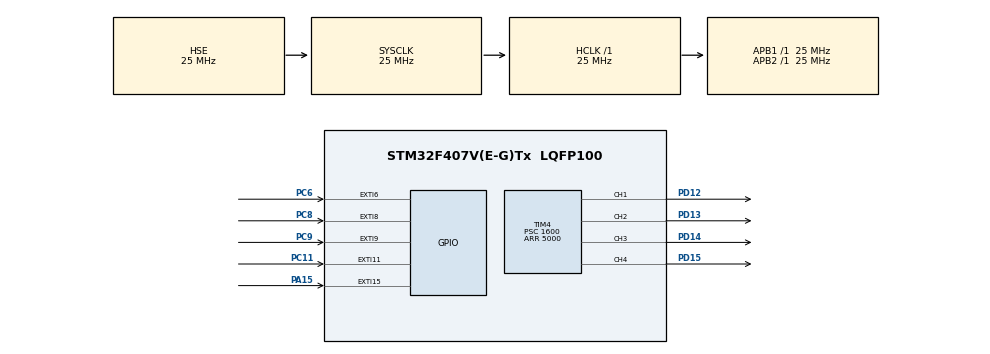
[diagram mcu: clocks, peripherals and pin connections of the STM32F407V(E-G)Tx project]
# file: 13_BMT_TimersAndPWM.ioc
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Mcu.Family=STM32F4
Mcu.Name=STM32F407V(E-G)Tx
Mcu.Package=LQFP100
NVIC.EXTI15_10_IRQn=true\:0\:0\:false\:false\:true\:true\:true\:true
NVIC.EXTI9_5_IRQn=true\:0\:0\:false\:false\:true\:true\:true\:true
NVIC.PriorityGroup=NVIC_PRIORITYGROUP_4
NVIC.TIM4_IRQn=true\:0\:0\:false\:false\:true\:true\:true\:true
PA15.GPIO_ModeDefaultEXTI=GPIO_MODE_IT_FALLING
PA15.Signal=GPXTI15
PC11.GPIO_ModeDefaultEXTI=GPIO_MODE_IT_FALLING
PC11.Signal=GPXTI11
PC6.GPIO_ModeDefaultEXTI=GPIO_MODE_IT_FALLING
PC6.Signal=GPXTI6
PC8.GPIO_ModeDefaultEXTI=GPIO_MODE_IT_FALLING
PC8.Signal=GPXTI8
PC9.GPIO_ModeDefaultEXTI=GPIO_MODE_IT_FALLING
PC9.Signal=GPXTI9
PD12.Signal=S_TIM4_CH1
PD13.Signal=S_TIM4_CH2
PD14.Signal=S_TIM4_CH3
PD15.Signal=S_TIM4_CH4
PH0-OSC_IN.Mode=HSE-External-Oscillator
PH0-OSC_IN.Signal=RCC_OSC_IN
PH1-OSC_OUT.Mode=HSE-External-Oscillator
PH1-OSC_OUT.Signal=RCC_OSC_OUT
ProjectManager.HeapSize=0x200
ProjectManager.StackSize=0x400
ProjectManager.TargetToolchain=STM32CubeIDE
RCC.48MHZClocksFreq_Value=48000000
RCC.AHBFreq_Value=25000000
RCC.APB1Freq_Value=25000000
RCC.APB1TimFreq_Value=25000000
RCC.APB2Freq_Value=25000000
RCC.APB2TimFreq_Value=25000000
RCC.CortexFreq_Value=25000000
RCC.HCLKFreq_Value=25000000
RCC.HSE_VALUE=25000000
RCC.HSI_VALUE=16000000
RCC.LSE_VALUE=32768
RCC.SYSCLKFreq_VALUE=25000000
RCC.SYSCLKSource=RCC_SYSCLKSOURCE_HSE
RCC.VCOOutputFreq_Value=192000000
SH.S_TIM4_CH1.0=TIM4_CH1,PWM Generation1 CH1
SH.S_TIM4_CH2.0=TIM4_CH2,PWM Generation2 CH2
SH.S_TIM4_CH3.0=TIM4_CH3,PWM Generation3 CH3
SH.S_TIM4_CH4.0=TIM4_CH4,PWM Generation4 CH4
TIM4.AutoReloadPreload=TIM_AUTORELOAD_PRELOAD_DISABLE
TIM4.Channel-PWM\ Generation1\ CH1=TIM_CHANNEL_1
TIM4.Channel-PWM\ Generation2\ CH2=TIM_CHANNEL_2
TIM4.Channel-PWM\ Generation3\ CH3=TIM_CHANNEL_3
TIM4.Channel-PWM\ Generation4\ CH4=TIM_CHANNEL_4
TIM4.Period=5000
TIM4.Prescaler=1600
VP_TIM4_VS_ClockSourceINT.Mode=Internal
board=custom

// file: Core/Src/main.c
/* USER CODE BEGIN Header */
/**
  ******************************************************************************
  * @file           : main.c
  * @brief          : Main program body
  ******************************************************************************
  * @attention
  *
  * Copyright (c) 2023 STMicroelectronics.
  * All rights reserved.
  *
  * This software is licensed under terms that can be found in the LICENSE file
  * in the root directory of this software component.
  * If no LICENSE file comes with this software, it is provided AS-IS.
  *
  ******************************************************************************
  */
/* USER CODE END Header */
#include "main.h"

/* USER CODE BEGIN PTD */
typedef enum{
	NO_CHANNEL,
	CHANNEL_1,
	CHANNEL_2,
	CHANNEL_3,
	CHANNEL_4,
} channel_t;

/* USER CODE END PTD */

/* USER CODE BEGIN PM */
#define FREQUENCY_STEP 10  // Hz
#define FREQUENCY_START 20 // Hz
#define DUTY_STEP 20       // 20 %
#define DUTY_START 20

// 25MHz / 2500 = 10 000 per second - after prescaler
#define PERIOD(frequency) (uint32_t)(10000 / frequency)

/* USER CODE END PM */

TIM_HandleTypeDef htim4;

void SystemClock_Config(void);
static void MX_GPIO_Init(void);
static void MX_TIM4_Init(void);
/* USER CODE BEGIN PFP */

void PWM_change_channel(void);
void PWM_change_duty(uint32_t frequency, uint8_t duty);
void PWM_change_frequency(uint32_t frequency, uint8_t duty);

/* USER CODE END PFP */

int main(void)
{

  /* MCU Configuration--------------------------------------------------------*/

  /* Reset of all peripherals, Initializes the Flash interface and the Systick. */
  HAL_Init();

  /* Configure the system clock */
  SystemClock_Config();

  /* Initialize all configured peripherals */
  MX_GPIO_Init();
  MX_TIM4_Init();
  /* USER CODE BEGIN 2 */

  // set up duty and frequency before start
  PWM_change_frequency(FREQUENCY_START, DUTY_START);

  /* USER CODE END 2 */

  /* Infinite loop */
  while (1)
  {
  }

}

void SystemClock_Config(void)
{
  RCC_OscInitTypeDef RCC_OscInitStruct = {0};
  RCC_ClkInitTypeDef RCC_ClkInitStruct = {0};

  /** Configure the main internal regulator output voltage
  */
  __HAL_RCC_PWR_CLK_ENABLE();
  __HAL_PWR_VOLTAGESCALING_CONFIG(PWR_REGULATOR_VOLTAGE_SCALE1);

  /** Initializes the RCC Oscillators according to the specified parameters
  * in the RCC_OscInitTypeDef structure.
  */
  RCC_OscInitStruct.OscillatorType = RCC_OSCILLATORTYPE_HSE;
  RCC_OscInitStruct.HSEState = RCC_HSE_ON;
  RCC_OscInitStruct.PLL.PLLState = RCC_PLL_NONE;
  if (HAL_RCC_OscConfig(&RCC_OscInitStruct) != HAL_OK)
  {
    Error_Handler();
  }

  /** Initializes the CPU, AHB and APB buses clocks
  */
  RCC_ClkInitStruct.ClockType = RCC_CLOCKTYPE_HCLK|RCC_CLOCKTYPE_SYSCLK
                              |RCC_CLOCKTYPE_PCLK1|RCC_CLOCKTYPE_PCLK2;
  RCC_ClkInitStruct.SYSCLKSource = RCC_SYSCLKSOURCE_HSE;
  RCC_ClkInitStruct.AHBCLKDivider = RCC_SYSCLK_DIV1;
  RCC_ClkInitStruct.APB1CLKDivider = RCC_HCLK_DIV1;
  RCC_ClkInitStruct.APB2CLKDivider = RCC_HCLK_DIV1;

  if (HAL_RCC_ClockConfig(&RCC_ClkInitStruct, FLASH_LATENCY_0) != HAL_OK)
  {
    Error_Handler();
  }
}

static void MX_TIM4_Init(void)
{

  TIM_ClockConfigTypeDef sClockSourceConfig = {0};
  TIM_MasterConfigTypeDef sMasterConfig = {0};
  TIM_OC_InitTypeDef sConfigOC = {0};

  htim4.Instance = TIM4;
  htim4.Init.Prescaler = 1600;
  htim4.Init.CounterMode = TIM_COUNTERMODE_UP;
  htim4.Init.Period = 5000;
  htim4.Init.ClockDivision = TIM_CLOCKDIVISION_DIV1;
  htim4.Init.AutoReloadPreload = TIM_AUTORELOAD_PRELOAD_DISABLE;
  if (HAL_TIM_Base_Init(&htim4) != HAL_OK)
  {
    Error_Handler();
  }
  sClockSourceConfig.ClockSource = TIM_CLOCKSOURCE_INTERNAL;
  if (HAL_TIM_ConfigClockSource(&htim4, &sClockSourceConfig) != HAL_OK)
  {
    Error_Handler();
  }
  if (HAL_TIM_PWM_Init(&htim4) != HAL_OK)
  {
    Error_Handler();
  }
  sMasterConfig.MasterOutputTrigger = TIM_TRGO_RESET;
  sMasterConfig.MasterSlaveMode = TIM_MASTERSLAVEMODE_DISABLE;
  if (HAL_TIMEx_MasterConfigSynchronization(&htim4, &sMasterConfig) != HAL_OK)
  {
    Error_Handler();
  }
  sConfigOC.OCMode = TIM_OCMODE_PWM1;
  sConfigOC.Pulse = 0;
  sConfigOC.OCPolarity = TIM_OCPOLARITY_HIGH;
  sConfigOC.OCFastMode = TIM_OCFAST_DISABLE;
  if (HAL_TIM_PWM_ConfigChannel(&htim4, &sConfigOC, TIM_CHANNEL_1) != HAL_OK)
  {
    Error_Handler();
  }
  if (HAL_TIM_PWM_ConfigChannel(&htim4, &sConfigOC, TIM_CHANNEL_2) != HAL_OK)
  {
    Error_Handler();
  }
  if (HAL_TIM_PWM_ConfigChannel(&htim4, &sConfigOC, TIM_CHANNEL_3) != HAL_OK)
  {
    Error_Handler();
  }
  if (HAL_TIM_PWM_ConfigChannel(&htim4, &sConfigOC, TIM_CHANNEL_4) != HAL_OK)
  {
    Error_Handler();
  }
  HAL_TIM_MspPostInit(&htim4);

}

static void MX_GPIO_Init(void)
{
  GPIO_InitTypeDef GPIO_InitStruct = {0};

  /* GPIO Ports Clock Enable */
  __HAL_RCC_GPIOH_CLK_ENABLE();
  __HAL_RCC_GPIOD_CLK_ENABLE();
  __HAL_RCC_GPIOC_CLK_ENABLE();
  __HAL_RCC_GPIOA_CLK_ENABLE();

  /*Configure GPIO pins : PC6 PC8 PC9 PC11 */
  GPIO_InitStruct.Pin = GPIO_PIN_6|GPIO_PIN_8|GPIO_PIN_9|GPIO_PIN_11;
  GPIO_InitStruct.Mode = GPIO_MODE_IT_FALLING;
  GPIO_InitStruct.Pull = GPIO_NOPULL;
  HAL_GPIO_Init(GPIOC, &GPIO_InitStruct);

  /*Configure GPIO pin : PA15 */
  GPIO_InitStruct.Pin = GPIO_PIN_15;
  GPIO_InitStruct.Mode = GPIO_MODE_IT_FALLING;
  GPIO_InitStruct.Pull = GPIO_NOPULL;
  HAL_GPIO_Init(GPIOA, &GPIO_InitStruct);

  /* EXTI interrupt init*/
  HAL_NVIC_SetPriority(EXTI9_5_IRQn, 0, 0);
  HAL_NVIC_EnableIRQ(EXTI9_5_IRQn);

  HAL_NVIC_SetPriority(EXTI15_10_IRQn, 0, 0);
  HAL_NVIC_EnableIRQ(EXTI15_10_IRQn);

}

/* USER CODE BEGIN 4 */
void HAL_GPIO_EXTI_Callback(uint16_t GPIO_Pin){
	static uint32_t frequency = FREQUENCY_START;
	static uint8_t duty = DUTY_START;

	switch (GPIO_Pin){
	case GPIO_PIN_11: //SWT1
		if (frequency <= (10000 - FREQUENCY_STEP)){ //max frequency 10kHz
			frequency += FREQUENCY_STEP;
			PWM_change_frequency(frequency, duty);
		}
		break;
	case GPIO_PIN_9: //SWT3
		if (frequency > FREQUENCY_STEP){ // min frequency = 0
			frequency -= FREQUENCY_STEP;
			PWM_change_frequency(frequency, duty);
		}
		break;
	case GPIO_PIN_6: //SWT4
		if (duty <= (100 - DUTY_STEP)){ //max duty = 100
			duty += DUTY_STEP;
			PWM_change_duty(frequency, duty);
		}
		break;
	case GPIO_PIN_8: //SWT5
		if (duty >= DUTY_STEP){ // min duty = 0
			duty -= DUTY_STEP;
			PWM_change_duty(frequency, duty);
		}
		break;
	case GPIO_PIN_15: //SWT2
		PWM_change_channel();
		break;
	}
}

void PWM_change_duty(uint32_t frequency, uint8_t duty){
	uint32_t high_duration = duty * PERIOD(frequency) / 100;
	TIM4->CCR1 = high_duration;
	TIM4->CCR2 = high_duration;
	TIM4->CCR3 = high_duration;
	TIM4->CCR4 = high_duration;
}

void PWM_change_frequency(uint32_t frequency, uint8_t duty){
	htim4.Init.Period = PERIOD(frequency);
	HAL_TIM_Base_Init(&htim4);

	PWM_change_duty(frequency, duty);
}

void PWM_change_channel(void){
	static channel_t channel = NO_CHANNEL;
	channel ++;
	switch (channel){
		case CHANNEL_1:
			HAL_TIM_PWM_Start(&htim4, TIM_CHANNEL_1);
			break;
		case CHANNEL_2:
			HAL_TIM_PWM_Stop(&htim4, TIM_CHANNEL_1);
			HAL_TIM_PWM_Start(&htim4, TIM_CHANNEL_2);
			break;
		case CHANNEL_3:
			HAL_TIM_PWM_Stop(&htim4, TIM_CHANNEL_2);
			HAL_TIM_PWM_Start(&htim4, TIM_CHANNEL_3);
			break;
		case CHANNEL_4:
			HAL_TIM_PWM_Stop(&htim4, TIM_CHANNEL_3);
			HAL_TIM_PWM_Start(&htim4, TIM_CHANNEL_4);
			break;
		default:
			channel = NO_CHANNEL;
			// no break
		case NO_CHANNEL:
			HAL_TIM_PWM_Stop(&htim4, TIM_CHANNEL_4);
			break;
	}
}

/* USER CODE END 4 */

void Error_Handler(void)
{
  __disable_irq();
  while (1)
  {
  }
}
